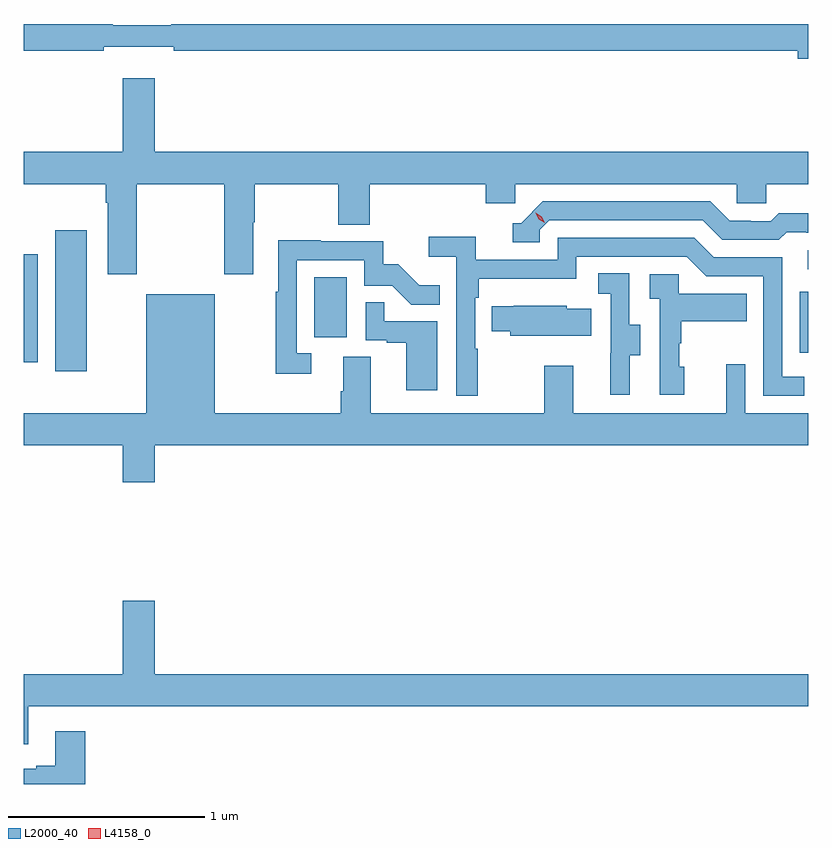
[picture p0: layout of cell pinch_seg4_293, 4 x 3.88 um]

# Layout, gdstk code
import gdstk
lib = gdstk.Library(unit=1e-6, precision=1e-09)
def R(c, l, rs):  # rectangles x0, y0, x1, y1
    for r in rs: c.add(gdstk.rectangle(r[:2], r[2:], *l))
def P(c, l, *ps):  # polygons
    for p in ps: c.add(gdstk.Polygon(p, *l))
L2000_40 = (2000, 40)
L4158_0 = (4158, 0)

pinch_seg4_293 = lib.new_cell('pinch_seg4_293')
R(pinch_seg4_293, L2000_40, [(931.895,803.856,932.056,804.577), (931.736,803.902,931.806,804.454), (935.694,803.952,935.736,804.262), (933.218,804.03,933.382,804.337), (935.733,804.378,935.736,804.474)])
P(pinch_seg4_293, L2000_40, [(935.736,805.628),(932.489,805.628),(932.489,805.621),(932.189,805.621),(932.189,805.628),(931.736,805.628),(931.736,805.492),(932.144,805.492),(932.144,805.511),(932.5,805.511),(932.5,805.492),(935.684,805.492),(935.684,805.45),(935.736,805.45)],
  [(932.313,804.812),(932.758,804.812),(932.758,804.351),(932.905,804.351),(932.905,804.616),(932.913,804.616),(932.913,804.812),(933.34,804.812),(933.34,804.604),(933.5,804.604),(933.5,804.812),(934.091,804.812),(934.091,804.714),(934.242,804.714),(934.242,804.812),(935.373,804.812),(935.373,804.714),(935.523,804.714),(935.523,804.812),(935.736,804.812),(935.736,804.976),(932.404,804.976),(932.404,805.351),(932.24,805.351),(932.24,804.976),(931.736,804.976),(931.736,804.812),(932.153,804.812),(932.153,804.716),(932.165,804.716),(932.165,804.351),(932.313,804.351)],
  [(934.368,804.579),(934.416,804.627),(935.199,804.627),(935.298,804.528),(935.587,804.528),(935.626,804.567),(935.725,804.567),(935.725,804.564),(935.736,804.564),(935.736,804.664),(935.587,804.664),(935.545,804.621),(935.442,804.621),(935.442,804.624),(935.335,804.624),(935.236,804.723),(934.383,804.723),(934.272,804.612),(934.229,804.612),(934.229,804.516),(934.368,804.516)],
  [(934.051,803.972),(934.038,803.972),(934.038,804.233),(934.055,804.233),(934.055,804.329),(934.554,804.329),(934.554,804.441),(935.118,804.441),(935.217,804.342),(935.508,804.342),(935.508,803.733),(935.717,803.733),(935.717,803.829),(935.604,803.829),(935.604,804.438),(935.254,804.438),(935.155,804.537),(934.458,804.537),(934.458,804.426),(934.04,804.426),(934.04,804.542),(933.801,804.542),(933.801,804.44),(933.942,804.44),(933.942,803.733),(934.051,803.733)],
  [(933.202,803.949),(933.129,803.949),(933.129,804.423),(933.471,804.423),(933.471,804.294),(933.615,804.294),(933.713,804.196),(933.857,804.196),(933.857,804.295),(933.753,804.295),(933.646,804.402),(933.57,804.402),(933.57,804.519),(933.251,804.519),(933.251,804.524),(933.033,804.524),(933.033,804.263),(933.021,804.263),(933.021,803.844),(933.202,803.844)],
  [(934.825,803.938),(934.879,803.938),(934.879,804.093),(934.824,804.093),(934.824,804.356),(934.665,804.356),(934.665,804.253),(934.728,804.253),(934.728,803.949),(934.727,803.949),(934.727,803.736),(934.825,803.736)],
  [(935.104,803.88),(935.079,803.88),(935.079,803.999),(935.089,803.999),(935.089,804.113),(935.423,804.113),(935.423,804.253),(935.076,804.253),(935.076,804.351),(934.929,804.351),(934.929,804.227),(934.98,804.227),(934.98,803.736),(935.104,803.736)],
  [(932.404,803.48),(935.736,803.48),(935.736,803.644),(935.415,803.644),(935.415,803.893),(935.318,803.893),(935.318,803.644),(934.537,803.644),(934.537,803.884),(934.39,803.884),(934.39,803.644),(933.505,803.644),(933.505,803.93),(933.365,803.93),(933.365,803.756),(933.353,803.756),(933.353,803.644),(932.71,803.644),(932.71,804.25),(932.36,804.25),(932.36,803.644),(931.736,803.644),(931.736,803.48),(932.24,803.48),(932.24,803.292),(932.404,803.292)],
  [(933.844,804.111),(933.575,804.111),(933.575,804.209),(933.48,804.209),(933.48,804.015),(933.587,804.015),(933.587,804.003),(933.686,804.003),(933.686,803.76),(933.844,803.76)],
  [(934.631,804.175),(934.506,804.175),(934.506,804.19),(934.234,804.19),(934.234,804.189),(934.123,804.189),(934.123,804.061),(934.217,804.061),(934.217,804.038),(934.631,804.038)],
  [(931.759,802.148),(935.736,802.148),(935.736,802.312),(932.404,802.312),(932.404,802.687),(932.24,802.687),(932.24,802.312),(931.736,802.312),(931.736,801.954),(931.759,801.954)],
  [(932.048,802.021),(931.895,802.021),(931.895,801.844),(931.799,801.844),(931.799,801.831),(931.736,801.831),(931.736,801.752),(932.048,801.752)])
P(pinch_seg4_293, L4158_0, [(934.392,804.614),(934.362,804.633),(934.346,804.665),(934.346,804.666),(934.346,804.666),(934.377,804.646),(934.393,804.614),(934.393,804.614)])

lib.write_gds('pinch_seg4_293.gds')
